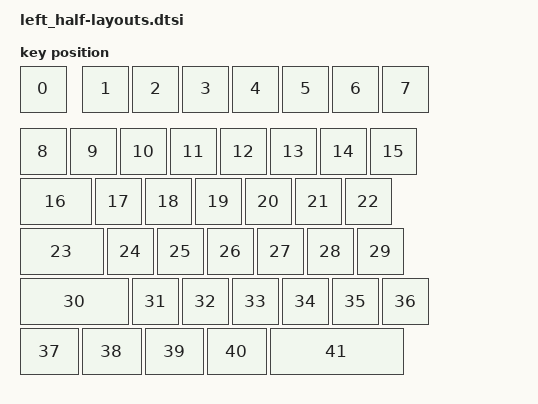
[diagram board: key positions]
// See https://zmk.dev/docs/development/hardware-integration/physical-layouts
// for how to configure this.

#include <physical_layouts.dtsi>

/ {
    default_layout: default_layout {
        compatible = "zmk,physical-layout";
        display-name = "Default Layout";
        transform = <&default_transform>;
        kscan = <&kscan>;

        // Edit this to define the positions and sizes of the keys, or remove it
        // if your keyboard will not support ZMK Studio.
        // https://zmk.dev/docs/development/hardware-integration/physical-layouts#optional-keys-property
        keys  //                     w   h    x    y     rot    rx    ry
            = <&key_physical_attrs 100 100    0    0       0     0     0>
            , <&key_physical_attrs 100 100  125    0       0     0     0>
            , <&key_physical_attrs 100 100  225    0       0     0     0>
            , <&key_physical_attrs 100 100  325    0       0     0     0>
            , <&key_physical_attrs 100 100  425    0       0     0     0>
            , <&key_physical_attrs 100 100  525    0       0     0     0>
            , <&key_physical_attrs 100 100  625    0       0     0     0>
            , <&key_physical_attrs 100 100  725    0       0     0     0>
            , <&key_physical_attrs 100 100    0  125       0     0     0>
            , <&key_physical_attrs 100 100  100  125       0     0     0>
            , <&key_physical_attrs 100 100  200  125       0     0     0>
            , <&key_physical_attrs 100 100  300  125       0     0     0>
            , <&key_physical_attrs 100 100  400  125       0     0     0>
            , <&key_physical_attrs 100 100  500  125       0     0     0>
            , <&key_physical_attrs 100 100  600  125       0     0     0>
            , <&key_physical_attrs 100 100  700  125       0     0     0>
            , <&key_physical_attrs 150 100    0  225       0     0     0>
            , <&key_physical_attrs 100 100  150  225       0     0     0>
            , <&key_physical_attrs 100 100  250  225       0     0     0>
            , <&key_physical_attrs 100 100  350  225       0     0     0>
            , <&key_physical_attrs 100 100  450  225       0     0     0>
            , <&key_physical_attrs 100 100  550  225       0     0     0>
            , <&key_physical_attrs 100 100  650  225       0     0     0>
            , <&key_physical_attrs 175 100    0  325       0     0     0>
            , <&key_physical_attrs 100 100  175  325       0     0     0>
            , <&key_physical_attrs 100 100  275  325       0     0     0>
            , <&key_physical_attrs 100 100  375  325       0     0     0>
            , <&key_physical_attrs 100 100  475  325       0     0     0>
            , <&key_physical_attrs 100 100  575  325       0     0     0>
            , <&key_physical_attrs 100 100  675  325       0     0     0>
            , <&key_physical_attrs 225 100    0  425       0     0     0>
            , <&key_physical_attrs 100 100  225  425       0     0     0>
            , <&key_physical_attrs 100 100  325  425       0     0     0>
            , <&key_physical_attrs 100 100  425  425       0     0     0>
            , <&key_physical_attrs 100 100  525  425       0     0     0>
            , <&key_physical_attrs 100 100  625  425       0     0     0>
            , <&key_physical_attrs 100 100  725  425       0     0     0>
            , <&key_physical_attrs 125 100    0  525       0     0     0>
            , <&key_physical_attrs 125 100  125  525       0     0     0>
            , <&key_physical_attrs 125 100  250  525       0     0     0>
            , <&key_physical_attrs 125 100  375  525       0     0     0>
            , <&key_physical_attrs 275 100  500  525       0     0     0>
            ;
    };
};
